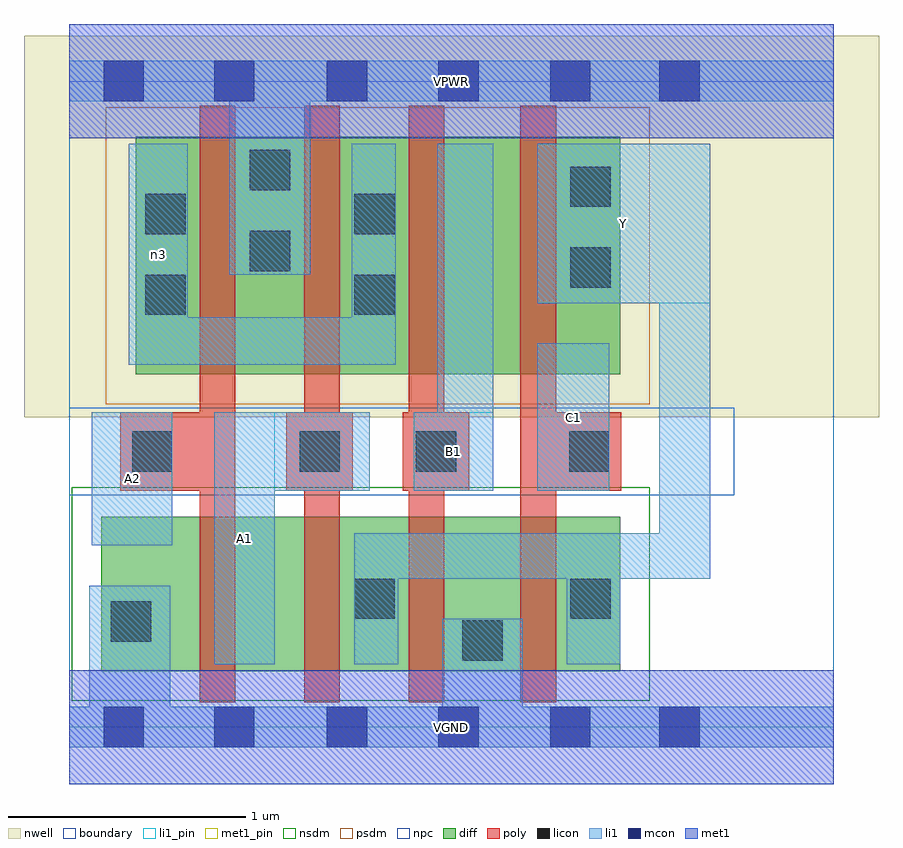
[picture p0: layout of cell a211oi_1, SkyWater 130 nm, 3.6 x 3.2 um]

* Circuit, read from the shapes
.subckt a211oi_1 A1 A2 B1 C1 VGND VPWR Y n3
XM1 n1 A2 VGND VSUBS sky130_fd_pr__nfet_01v8 w=0.65 l=0.15
XM2 Y A1 n1 VSUBS sky130_fd_pr__nfet_01v8 w=0.65 l=0.15
XM3 VGND B1 Y VSUBS sky130_fd_pr__nfet_01v8 w=0.65 l=0.15
XM4 Y C1 VGND VSUBS sky130_fd_pr__nfet_01v8 w=0.65 l=0.15
XM5 VPWR A2 n3 n2 sky130_fd_pr__pfet_01v8 w=1 l=0.15
XM6 n3 A1 VPWR n2 sky130_fd_pr__pfet_01v8 w=1 l=0.15
XM7 n4 B1 n3 n2 sky130_fd_pr__pfet_01v8 w=1 l=0.15
XM8 Y C1 n4 n2 sky130_fd_pr__pfet_01v8 w=1 l=0.15
.ends

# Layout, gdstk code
import gdstk
lib = gdstk.Library(unit=1e-6, precision=1e-09)
def R(c, l, rs):  # rectangles x0, y0, x1, y1
    for r in rs: c.add(gdstk.rectangle(r[:2], r[2:], *l))
def A(c, l, x, y, w, h, nx, ny, dx, dy):  # array of equal rectangles
    R(c, l, [(x+i*dx, y+j*dy, x+i*dx+w, y+j*dy+h) for i in range(nx) for j in range(ny)])
nwell = (64, 20)
diff = (65, 20)
poly = (66, 20)
licon = (66, 44)
li1_pin = (67, 16)
li1 = (67, 20)
mcon = (67, 44)
met1_pin = (68, 16)
met1 = (68, 20)
nsdm = (93, 44)
psdm = (94, 20)
npc = (95, 20)
boundary = (235, 4)

a211oi_1 = lib.new_cell('a211oi_1')
R(a211oi_1, nwell, [(-0.19,1.305,3.41,2.91), (0,1.305,3.22,2.91)])
R(a211oi_1, diff, [(0.135,0.235,2.32,0.885), (0.28,1.485,2.32,2.485)])
A(a211oi_1, poly, 0.55, 0.105, 0.15, 2.51, 3, 1, 0.44, 0)
R(a211oi_1, poly, [(1.9,0.105,2.05,2.615), (0.215,0.995,0.7,1.325), (0.915,0.995,1.195,1.325), (1.405,0.995,1.685,1.325), (1.9,0.995,2.325,1.325)])
R(a211oi_1, licon, [(1.655,0.28,1.825,0.45), (0.175,0.36,0.345,0.53), (1.2,0.455,1.37,0.625), (2.11,0.455,2.28,0.625), (0.265,1.075,0.435,1.245), (0.97,1.075,1.14,1.245), (1.46,1.075,1.63,1.245), (2.105,1.075,2.275,1.245), (0.32,1.735,0.49,1.905), (1.2,1.735,1.37,1.905), (2.11,1.85,2.28,2.02), (0.76,1.92,0.93,2.09), (0.32,2.075,0.49,2.245), (1.2,2.075,1.37,2.245), (2.11,2.19,2.28,2.36), (0.76,2.26,0.93,2.43)])
R(a211oi_1, li1_pin, [(0.61,0.265,0.865,1.325), (0.095,0.765,0.435,1.325), (1.45,0.995,1.785,1.325), (1.97,0.995,2.275,1.615), (1.97,1.785,2.7,2.455)])
R(a211oi_1, li1, [(0,-0.085,3.22,0.085), (0.085,-0.085,0.425,0.595), (1.57,-0.085,1.91,0.455), (0.61,0.265,0.865,1.325), (1.2,0.265,1.385,0.815), (2.095,0.265,2.32,0.815), (1.2,0.625,2.7,0.815), (2.485,0.625,2.7,2.455), (0.095,0.765,0.435,1.325), (0.61,0.995,1.265,1.325), (1.45,0.995,1.785,1.325), (1.55,0.995,1.785,2.455), (1.97,0.995,2.275,1.615), (0.25,1.525,0.5,2.455), (0.25,1.525,1.375,1.725), (1.19,1.525,1.375,2.455), (1.97,1.785,2.7,2.455), (0.675,1.905,1.015,2.805), (0,2.635,3.22,2.805)])
A(a211oi_1, mcon, 1.085, -0.085, 0.17, 0.17, 3, 2, 0.47, 2.72)
R(a211oi_1, mcon, [(0.145,-0.085,0.315,0.085), (0.61,-0.085,0.78,0.085), (2.485,-0.085,2.655,0.085), (0.145,2.635,0.315,2.805), (0.61,2.635,0.78,2.805), (2.485,2.635,2.655,2.805)])
R(a211oi_1, met1_pin, [(0,-0.24,3.22,0.24), (0,2.48,3.22,2.96)])
R(a211oi_1, met1, [(0,-0.24,3.22,0.24), (0,2.48,3.22,2.96)])
R(a211oi_1, nsdm, [(0.01,0.11,2.445,1.01)])
R(a211oi_1, psdm, [(0.155,1.36,2.445,2.61)])
R(a211oi_1, npc, [(0,0.975,2.8,1.345)])
R(a211oi_1, boundary, [(0,0,3.22,2.72)])
a211oi_1.add(gdstk.Label('A1', (0.737,0.795), layer=67, texttype=5))
a211oi_1.add(gdstk.Label('A2', (0.265,1.045), layer=67, texttype=5))
a211oi_1.add(gdstk.Label('B1', (1.617,1.16), layer=67, texttype=5))
a211oi_1.add(gdstk.Label('C1', (2.122,1.305), layer=67, texttype=5))
a211oi_1.add(gdstk.Label('Y', (2.335,2.12), layer=67, texttype=5))
a211oi_1.add(gdstk.Label('n3', (0.375,1.99), layer=67, texttype=5))
a211oi_1.add(gdstk.Label('VPWR', (1.61,2.72), layer=68, texttype=5))
a211oi_1.add(gdstk.Label('VGND', (1.61,0), layer=68, texttype=5))
a211oi_1.add(gdstk.Label('A1', (0.737,0.795), layer=67, texttype=16))
a211oi_1.add(gdstk.Label('A2', (0.265,1.045), layer=67, texttype=16))
a211oi_1.add(gdstk.Label('B1', (1.617,1.16), layer=67, texttype=16))
a211oi_1.add(gdstk.Label('C1', (2.122,1.305), layer=67, texttype=16))
a211oi_1.add(gdstk.Label('Y', (2.335,2.12), layer=67, texttype=16))
a211oi_1.add(gdstk.Label('VPWR', (1.61,2.72), layer=68, texttype=16))
a211oi_1.add(gdstk.Label('VGND', (1.61,0), layer=68, texttype=16))

lib.write_gds('a211oi_1.gds')
